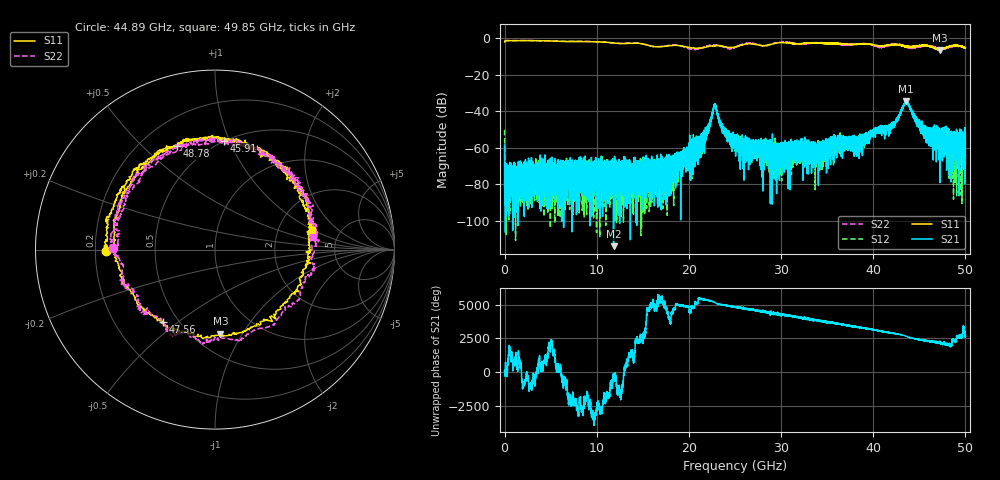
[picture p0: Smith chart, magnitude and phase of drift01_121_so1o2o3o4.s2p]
!Created with skrf (http://scikit-rf.org).
# Hz S RI R 50.0
!freq ReS11 ImS11 ReS21 ImS21 ReS12 ImS12 ReS22 ImS22
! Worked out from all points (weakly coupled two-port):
!   10001 points, 300 kHz to 50 GHz, reference 50 ohm
!   highest |S21| = -34.60 dB at 43.59 GHz (marker M1); lowest = -113.9 dB at 11.83 GHz (marker M2)
!   lowest |S11| = -6.6 dB at 47.28 GHz (marker M3), VSWR 2.77, Z = 33.5 - j40.4 ohm
!   |S11| at or under -10 dB: nowhere
!   |S22| runs from -6.4 to -1.4 dB; largest |S21 - S12| = 0.0038
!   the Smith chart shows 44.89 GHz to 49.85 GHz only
!   S11 on the Smith chart (normalised r, x): 44.89 GHz: 0.24, -0.01; 45.91 GHz: 0.49, +0.95; 47.56 GHz: 0.41, -0.44; 48.78 GHz: 0.34, +0.64; 49.85 GHz: 3.11, +0.95
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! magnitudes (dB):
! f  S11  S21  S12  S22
! 300 kHz  -2.1  -58.5  -50.3  -2.1
! 255.3 MHz  -1.4  -80.2  -94.7  -1.4
! 8.335 GHz  -1.9  -73.1  -79.8  -1.8
! 11.83 GHz  -2.8  -113.9  -71.1  -2.7
! 16.67 GHz  -4.8  -76.9  -74.1  -4.8
! 21.13 GHz  -5.6  -59.3  -55.1  -6.0
! 22.81 GHz  -4.3  -36.0  -36.2  -4.0
! 23.81 GHz  -4.7  -52.5  -49.9  -5.1
! 25 GHz  -5.0  -57.9  -57.7  -5.0
! 29.66 GHz  -2.7  -63.1  -60.0  -2.5
! 31.96 GHz  -3.3  -58.8  -59.1  -3.3
! 33.34 GHz  -2.6  -63.5  -68.7  -2.7
! 38.63 GHz  -3.4  -55.5  -57.3  -3.1
! 41.67 GHz  -3.9  -49.2  -49.2  -4.1
! 43.59 GHz  -4.6  -34.6  -35.2  -4.8
! 44.89 GHz  -4.3  -47.5  -47.3  -4.9
! 45.91 GHz  -4.3  -51.6  -53.8  -4.3
! 47.28 GHz  -6.6  -52.0  -51.8  -5.7
! 47.56 GHz  -6.1  -63.4  -50.2  -5.5
! 48.78 GHz  -4.2  -62.5  -62.8  -4.7
! 49.85 GHz  -5.2  -56.0  -71.0  -5.2
! 50 GHz  -5.4  -68.8  -52.9  -5.3
